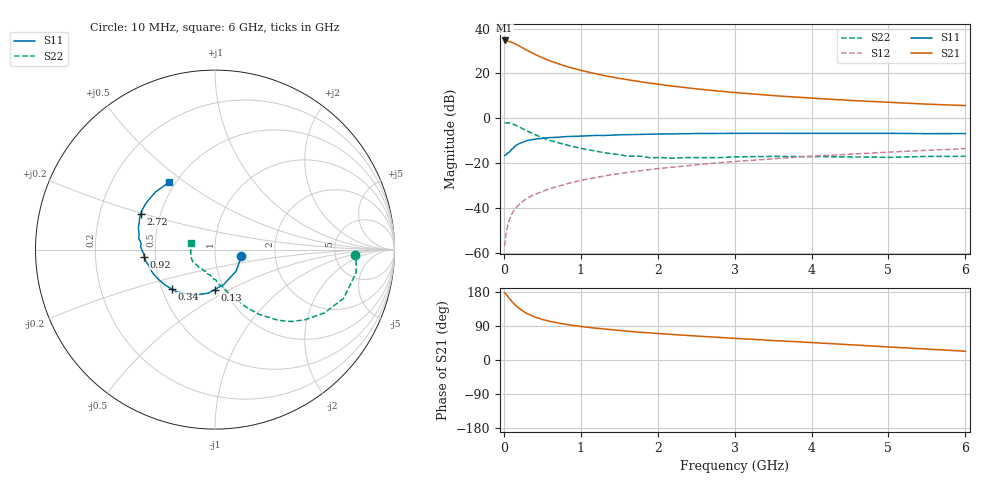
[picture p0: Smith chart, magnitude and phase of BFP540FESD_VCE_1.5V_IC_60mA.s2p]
! Infineon Technologies  Discrete & RF Semiconductors
! BFP540FESD
! VCE =  1.5 V,  IC =  60 mA
! Common Emitter S-Parameters:  Nov 2015
# GHz  S  MA  R  50
!  f  S11  S21  S12  S22
! GHz  MAG  ANG  MAG  ANG  MAG  ANG  MAG  ANG
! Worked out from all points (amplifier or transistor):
!   210 points, 10 MHz to 6 GHz, reference 50 ohm
!   highest |S21| = 34.7 dB at 10 MHz (marker M1)
!   |S21| within 3 dB of that: start of sweep to 227.6 MHz
!   unconditionally stable (mu >= 1): start of sweep to 40.56 MHz; 887.2 MHz to end of sweep
!   at 185 MHz: K = 0.62, MSG = 35.7 dB, |S12| = -38.9 dB
!   at 1.52 GHz: K = 1.09, MAG = 19.4 dB, |S12| = -24.6 dB
!   at 6 GHz: K = 1.21, MAG = 6.9 dB, |S12| = -13.6 dB
!   S11 on the Smith chart (normalised r, x): 10 MHz: 1.33, -0.09; 130 MHz: 0.90, -0.42; 340 MHz: 0.56, -0.28; 920 MHz: 0.43, -0.04; 2.72 GHz: 0.39, +0.19; 6 GHz: 0.46, +0.44
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0.01  0.1484 -12.8  54.54 177.6  0.0014 121.7  0.7788 -2.1
0.02  0.1516 -24.4  52.67 175.6  0.002 114.8  0.7872 -1.7
0.05  0.1684 -45.8  53.17 167.9  0.0041 93.6  0.7968 -9.3
0.1  0.2007 -76.2  50.01 155.3  0.0071 82.4  0.7666 -20.7
0.13  0.2234 -90.6  47.37 149.2  0.0087 79.0  0.7274 -26.1
0.15  0.245 -98.4  45.93 144.7  0.0097 77.3  0.7051 -30.0
0.2  0.2725 -112.2  41.09 135.7  0.012 72.0  0.6374 -37.8
0.3  0.3187 -132.6  32.92 122.6  0.0164 69.2  0.5235 -48.5
0.34  0.3265 -137.9  30.37 119.4  0.0178 69.5  0.4874 -51.1
0.4  0.3429 -145.2  26.77 113.5  0.0198 69.9  0.4355 -55.8
0.5  0.3595 -153.8  22.36 106.9  0.0233 68.7  0.3683 -61.3
0.58  0.3689 -158.8  19.67 103.0  0.0263 69.2  0.33 -64.2
0.7  0.3775 -165.6  16.56 97.8  0.0301 69.3  0.2861 -68.3
0.92  0.3958 -174.4  12.75 90.7  0.0382 69.5  0.2285 -75.7
1.02  0.4002 -177.4  11.52 88.0  0.0416 69.2  0.2099 -78.9
1.5  0.4294 171.8  7.78 77.9  0.0583 67.1  0.1548 -97.3
2.02  0.4462 162.5  5.686 69.6  0.0758 64.0  0.1333 -118.9
2.72  0.4587 154.5  4.159 60.6  0.0994 59.9  0.1325 -140.6
3.1  0.4619 150.6  3.639 56.1  0.1116 57.3  0.1381 -146.7
4.1  0.4619 143.1  2.749 44.9  0.1454 50.4  0.1392 -162.3
5.1  0.4598 134.5  2.232 33.3  0.1795 41.9  0.1354 -178.4
6  0.4558 123.9  1.919 23.1  0.2096 34.0  0.142 163.9
